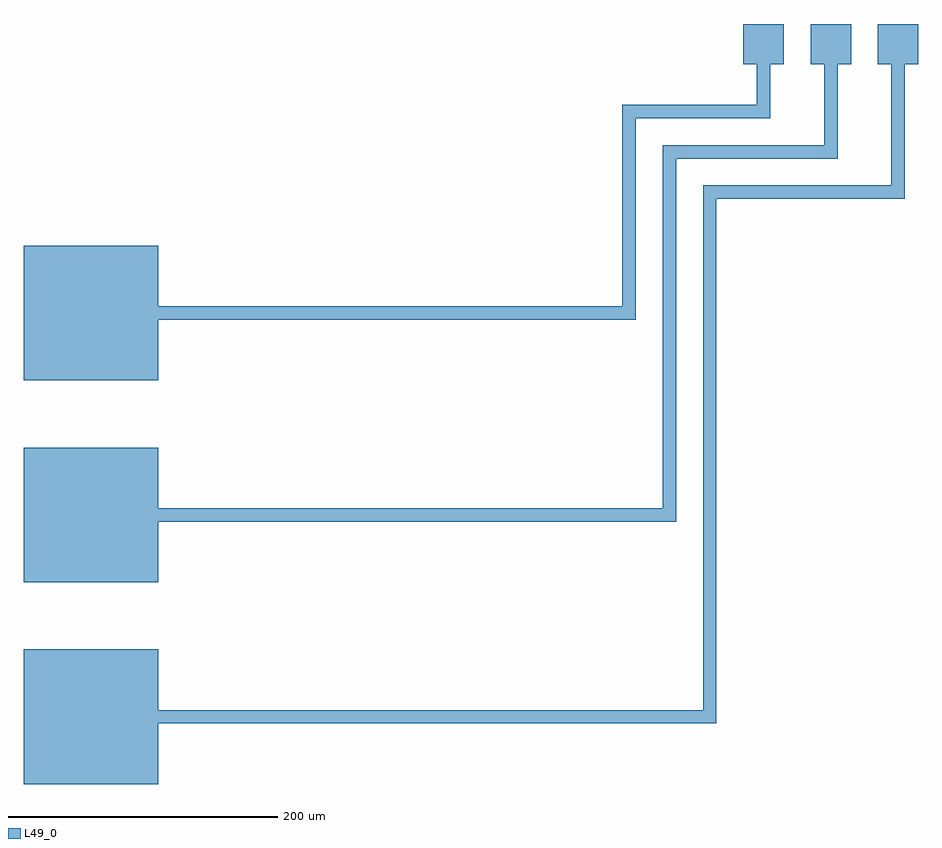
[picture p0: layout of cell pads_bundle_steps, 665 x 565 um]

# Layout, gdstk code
from math import pi, radians
import gdstk
lib = gdstk.Library(unit=1e-6, precision=1e-09)
def R(c, l, rs):  # rectangles x0, y0, x1, y1
    for r in rs: c.add(gdstk.rectangle(r[:2], r[2:], *l))
L49_0 = (49, 0)

pad_size30__30 = lib.new_cell('pad_size30__30')
R(pad_size30__30, L49_0, [(-15,-15,15,15)])

pad_array_fda5e942 = lib.new_cell('pad_array_fda5e942')
r = gdstk.Reference(pad_size30__30, (0,0)); r.repetition = gdstk.Repetition(3, 1, v1=(50,0), v2=(0,1)); pad_array_fda5e942.add(r)

pad = lib.new_cell('pad')
R(pad, L49_0, [(-50,-50,50,50)])

pad_array_3ceac6aa = lib.new_cell('pad_array_3ceac6aa')
r = gdstk.Reference(pad, (0,0)); r.repetition = gdstk.Repetition(1, 3, v1=(150,0), v2=(0,150)); pad_array_3ceac6aa.add(r)

wire_corner_end_straigh_ = lib.new_cell('wire_corner_end_straigh_952ce66d')
R(wire_corner_end_straigh_, L49_0, [(-5,-5,5,5)])

straight_9ffeef77 = lib.new_cell('straight_9ffeef77')
R(straight_9ffeef77, L49_0, [(0,-5,45,5)])

straight_bbe29c26 = lib.new_cell('straight_bbe29c26')
R(straight_bbe29c26, L49_0, [(0,-5,90,5)])

straight_f388a5c4 = lib.new_cell('straight_f388a5c4')
R(straight_f388a5c4, L49_0, [(0,-5,140,5)])

straight_827b3d90 = lib.new_cell('straight_827b3d90')
R(straight_827b3d90, L49_0, [(0,-5,395,5)])

straight_1389ac59 = lib.new_cell('straight_1389ac59')
R(straight_1389ac59, L49_0, [(0,-5,75,5)])

straight_87a35633 = lib.new_cell('straight_87a35633')
R(straight_87a35633, L49_0, [(0,-5,110,5)])

straight_e9525389 = lib.new_cell('straight_e9525389')
R(straight_e9525389, L49_0, [(0,-5,260,5)])

straight_ec21ead6 = lib.new_cell('straight_ec21ead6')
R(straight_ec21ead6, L49_0, [(0,-5,425,5)])

straight_df43bc30 = lib.new_cell('straight_df43bc30')
R(straight_df43bc30, L49_0, [(0,-5,105,5)])

straight_9f2b0071 = lib.new_cell('straight_9f2b0071')
R(straight_9f2b0071, L49_0, [(0,-5,130,5)])

straight_01b2493f = lib.new_cell('straight_01b2493f')
R(straight_01b2493f, L49_0, [(0,-5,380,5)])

straight_f8d5d1eb = lib.new_cell('straight_f8d5d1eb')
R(straight_f8d5d1eb, L49_0, [(0,-5,455,5)])

pads_bundle_steps = lib.new_cell('pads_bundle_steps')
pads_bundle_steps.add(gdstk.Reference(pad_array_fda5e942, (500,500)))
pads_bundle_steps.add(gdstk.Reference(pad_array_3ceac6aa, (0,0)))
pads_bundle_steps.add(gdstk.Reference(wire_corner_end_straigh_, (500,450), rotation=3*pi/2, x_reflection=True))
pads_bundle_steps.add(gdstk.Reference(wire_corner_end_straigh_, (400,450), rotation=pi))
pads_bundle_steps.add(gdstk.Reference(wire_corner_end_straigh_, (400,300), rotation=3*pi/2, x_reflection=True))
pads_bundle_steps.add(gdstk.Reference(straight_9ffeef77, (500,500), rotation=3*pi/2))
pads_bundle_steps.add(gdstk.Reference(straight_bbe29c26, (495,450), rotation=pi))
pads_bundle_steps.add(gdstk.Reference(straight_f388a5c4, (400,445), rotation=3*pi/2))
pads_bundle_steps.add(gdstk.Reference(straight_827b3d90, (395,300), rotation=pi))
pads_bundle_steps.add(gdstk.Reference(wire_corner_end_straigh_, (550,420), rotation=3*pi/2, x_reflection=True))
pads_bundle_steps.add(gdstk.Reference(wire_corner_end_straigh_, (430,420), rotation=pi))
pads_bundle_steps.add(gdstk.Reference(wire_corner_end_straigh_, (430,150), rotation=3*pi/2, x_reflection=True))
pads_bundle_steps.add(gdstk.Reference(straight_1389ac59, (550,500), rotation=3*pi/2))
pads_bundle_steps.add(gdstk.Reference(straight_87a35633, (545,420), rotation=pi))
pads_bundle_steps.add(gdstk.Reference(straight_e9525389, (430,415), rotation=3*pi/2))
pads_bundle_steps.add(gdstk.Reference(straight_ec21ead6, (425,150), rotation=pi))
pads_bundle_steps.add(gdstk.Reference(wire_corner_end_straigh_, (600,390), rotation=3*pi/2, x_reflection=True))
pads_bundle_steps.add(gdstk.Reference(wire_corner_end_straigh_, (460,390), rotation=pi))
pads_bundle_steps.add(gdstk.Reference(wire_corner_end_straigh_, (460,0), rotation=3*pi/2, x_reflection=True))
pads_bundle_steps.add(gdstk.Reference(straight_df43bc30, (600,500), rotation=3*pi/2))
pads_bundle_steps.add(gdstk.Reference(straight_9f2b0071, (595,390), rotation=pi))
pads_bundle_steps.add(gdstk.Reference(straight_01b2493f, (460,385), rotation=3*pi/2))
pads_bundle_steps.add(gdstk.Reference(straight_f8d5d1eb, (455,0), rotation=pi))

lib.write_gds('pads_bundle_steps.gds')
